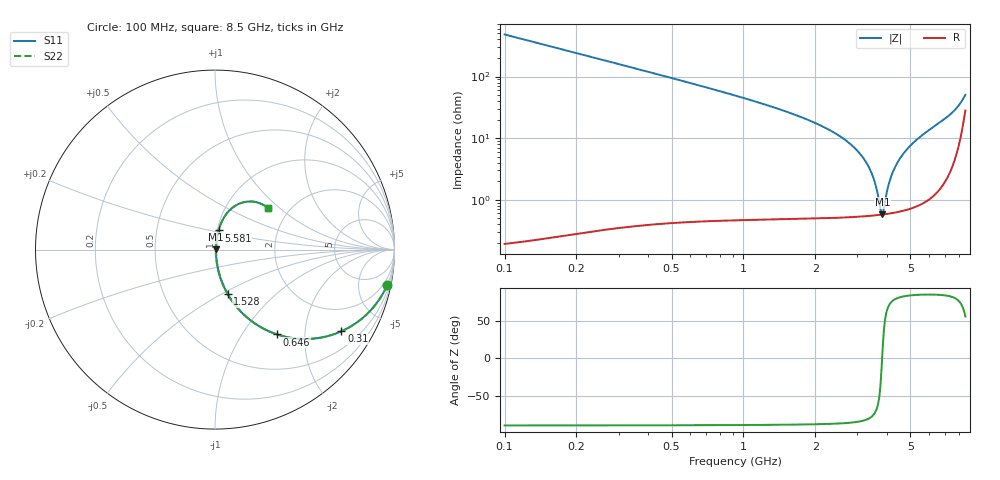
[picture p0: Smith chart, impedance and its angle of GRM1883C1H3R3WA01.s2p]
!Murata Part Number: GRM1883C1H3R3WA01
!These Parameters are Measured in Series Mode Connection
!Data Generated on Mar 30, 2021
!  o--ll--o
!Port1  Port2
!  o------o
!Operation Temp=25[degC], DC Bias Voltage=0[V]
!Freq. Start=100[MHz] Stop=9[GHz] 401[Steps]
# Hz S RI R 50
!Freq.(Hz) S11(Real) S11(Imag) S21(Real) S21(Imag) S12(Real) S12(Imag) S22(Real) S22(Imag)
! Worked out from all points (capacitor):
!   401 points, 100 MHz to 8.5 GHz, reference 50 ohm
!   read as one part in series: C = 3.3 pF near 142 MHz
!   lowest |Z| = 579 mohm at 3.817 GHz (marker M1)
!   series resonance near 3.808 GHz, so ESL is about 530 pH
!   S11 on the Smith chart (normalised r, x): 100 MHz: 1.00, -9.64; 310 MHz: 1.01, -3.09; 646 MHz: 1.01, -1.45; 1.528 GHz: 1.01, -0.53; 5.581 GHz: 1.02, +0.22; 8.5 GHz: 1.56, +0.84
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1e8  0.9586 -0.1989  0.0414 0.1989  0.0414 0.1989  0.9586 -0.1989
2.05e8  0.8458 -0.3606  0.1542 0.3606  0.1542 0.3606  0.8458 -0.3606
3.1e8  0.7041 -0.4553  0.2959 0.4553  0.2959 0.4553  0.7041 -0.4553
4.57e8  0.5192 -0.4977  0.4808 0.4977  0.4808 0.4977  0.5192 -0.4977
6.46e8  0.3452 -0.4724  0.6548 0.4724  0.6548 0.4724  0.3452 -0.4724
1.003e9  0.1696 -0.3701  0.8304 0.3701  0.8304 0.3701  0.1696 -0.3701
1.507e9  0.0722 -0.2501  0.9278 0.2501  0.9278 0.2501  0.0722 -0.2501
1.528e9  0.0699 -0.246  0.9301 0.246  0.9301 0.246  0.0699 -0.246
2.914e9  0.01 -0.0688  0.99 0.0688  0.99 0.0688  0.01 -0.0688
3.208e9  0.00732 -0.0441  0.9927 0.0441  0.9927 0.0441  0.00732 -0.0441
3.439e9  0.00618 -0.0263  0.9938 0.0263  0.9938 0.0263  0.00618 -0.0263
3.607e9  0.00578 -0.014  0.9942 0.014  0.9942 0.014  0.00578 -0.014
3.775e9  0.0057 -0.00227  0.9943 0.00227  0.9943 0.00227  0.0057 -0.00227
3.817e9  0.00572 0.0006  0.9943 -0.0006  0.9943 -0.0006  0.00572 0.0006
4.069e9  0.00622 0.0173  0.9938 -0.0173  0.9938 -0.0173  0.00622 0.0173
4.3e9  0.00717 0.032  0.9928 -0.032  0.9928 -0.032  0.00717 0.032
4.804e9  0.0107 0.0623  0.9893 -0.0623  0.9893 -0.0623  0.0107 0.0623
5.581e9  0.0201 0.1069  0.9799 -0.1069  0.9799 -0.1069  0.0201 0.1069
5.707e9  0.0222 0.114  0.9778 -0.114  0.9778 -0.114  0.0222 0.114
7.114e9  0.0645 0.2002  0.9355 -0.2002  0.9355 -0.2002  0.0645 0.2002
7.912e9  0.1403 0.2579  0.8597 -0.2579  0.8597 -0.2579  0.1403 0.2579
8.5e9  0.2948 0.2312  0.7052 -0.2312  0.7052 -0.2312  0.2948 0.2312
